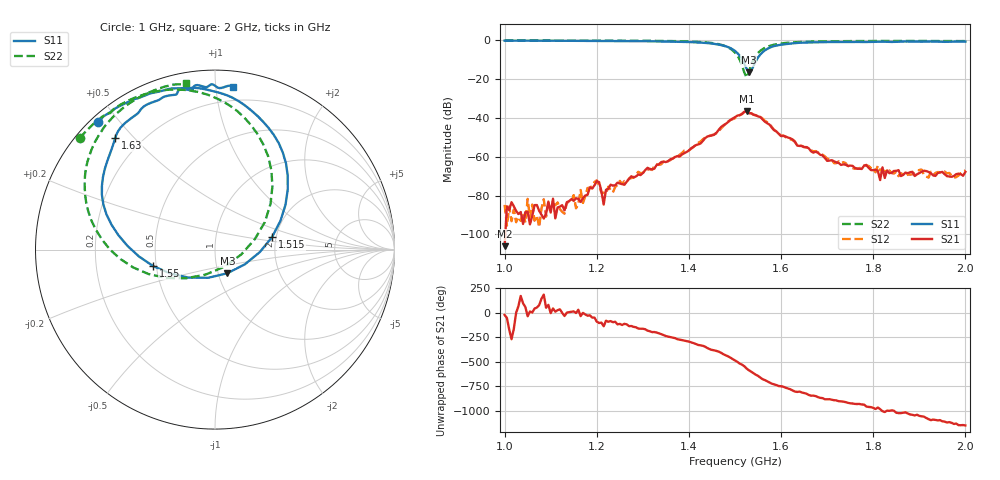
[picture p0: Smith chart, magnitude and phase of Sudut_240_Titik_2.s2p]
# Hz S RI R 50
! CMT, C1220, 16058040, 17.2.0/1
! Date: 14/08/2018 12:48:32
! Data: Format (Calibration Info)
! Freq  S11: Re/Im (F2)  S21: Re/Im (F2)  S12: Re/Im (F2)  S22: Re/Im (F2)
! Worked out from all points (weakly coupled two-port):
!   201 points, 1 GHz to 2 GHz, reference 50 ohm
!   highest |S21| = -36.59 dB at 1.525 GHz (marker M1); lowest = -106.0 dB at 1 GHz (marker M2)
!   lowest |S11| = -16.6 dB at 1.53 GHz (marker M3), VSWR 1.35, Z = 55.3 - j14.9 ohm
!   |S11| at or under -10 dB: 1.516 GHz to 1.547 GHz (31.91 MHz wide, 2.08 % of centre)
!   |S22| runs from -19.2 to -0.2 dB; largest |S21 - S12| = 0.00063
!   S11 on the Smith chart (normalised r, x): 1 GHz: 0.02, +0.44; 1.515 GHz: 1.90, +0.29; 1.55 GHz: 0.48, -0.10; 1.63 GHz: 0.11, +0.44; 2 GHz: 0.10, +1.11
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1e9  -0.6519 0.7133  4.64e-06 -1.88e-06  -1e-05 5.71e-05  -0.7539 0.6215
1.17e9  -0.4818 0.8239  8.53e-05 -1.04e-06  6.16e-05 -1.98e-05  -0.6182 0.7467
1.2e9  -0.4397 0.8406  -1.72e-06 -0.000235  5.05e-05 -0.000241  -0.5851 0.7602
1.215e9  -0.4243 0.8453  -4.39e-05 -3.94e-05  3.86e-06 -0.000119  -0.5779 0.7687
1.23e9  -0.4 0.8543  1.82e-05 -0.00019  -5.44e-07 -0.000139  -0.563 0.7838
1.335e9  -0.2195 0.8983  -0.000555 0.000322  -0.00049 0.000373  -0.404 0.8616
1.45e9  0.1803 0.7929  0.00331 -0.00121  0.00329 -0.0015  0.0191 0.8378
1.5e9  0.4053 0.3345  -0.0063 -0.00828  -0.00593 -0.00777  0.3198 0.3518
1.515e9  0.3174 0.0689  -0.0123 -0.00209  -0.0123 -0.00246  0.2215 0.0574
1.525e9  0.1664 -0.082  -0.0129 0.00732  -0.0131 0.00721  0.0527 -0.0955
1.53e9  0.0687 -0.1318  -0.0089 0.00968  -0.009 0.00972  -0.0543 -0.1399
1.55e9  -0.3435 -0.0924  0.0029 0.0105  0.0025 0.0106  -0.4555 -0.0997
1.58e9  -0.622 0.2517  0.00557 -0.000544  0.00573 -0.000804  -0.7055 0.2112
1.63e9  -0.5564 0.6213  0.000184 -0.00247  0.000281 -0.00239  -0.6947 0.5387
1.67e9  -0.4477 0.7457  -0.00077 -0.00101  -0.000831 -0.00109  -0.6279 0.6676
1.785e9  -0.2138 0.8656  -0.000319 0.000526  -0.00033 0.000492  -0.4498 0.8319
1.815e9  -0.1842 0.8937  -1.56e-05 0.000251  0.000105 0.000439  -0.4084 0.8561
1.82e9  -0.1723 0.8934  0.000152 0.000508  4.78e-05 0.000435  -0.4014 0.8595
1.825e9  -0.1592 0.8916  0.000123 0.000256  9.99e-05 0.00042  -0.3945 0.8624
1.835e9  -0.1364 0.8871  8.49e-05 0.000368  6.71e-05 0.000439  -0.3813 0.8694
1.975e9  0.0652 0.9101  0.000171 -0.00027  0.000167 -0.000237  -0.1873 0.9207
2e9  0.1011 0.9064  0.000121 -0.00039  0.000109 -0.000437  -0.1595 0.9299
